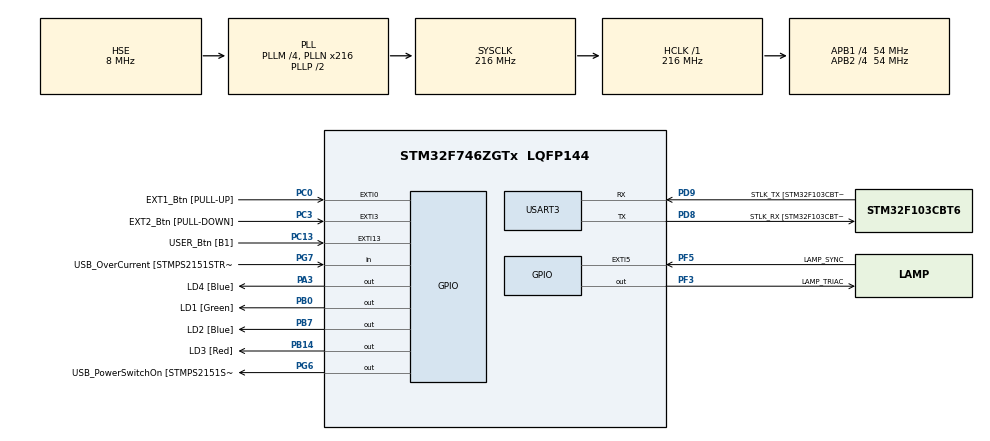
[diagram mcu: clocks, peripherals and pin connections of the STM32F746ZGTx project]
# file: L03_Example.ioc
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Mcu.Family=STM32F7
Mcu.Name=STM32F746ZGTx
Mcu.Package=LQFP144
NVIC.EXTI15_10_IRQn=true\:0\:0\:false\:false\:true\:true\:true\:true
NVIC.EXTI9_5_IRQn=true\:0\:0\:false\:false\:true\:true\:true\:true
NVIC.PriorityGroup=NVIC_PRIORITYGROUP_4
NVIC.TIM2_IRQn=true\:0\:0\:false\:false\:true\:true\:true\:true
NVIC.USART3_IRQn=true\:0\:0\:false\:false\:true\:true\:true\:true
PA1.GPIO_Label=RMII_REF_CLK [LAN8742A-CZ-TR_REFCLK0]
PA1.Signal=ETH_REF_CLK
PA10.GPIO_Label=USB_ID
PA10.Signal=USB_OTG_FS_ID
PA11.GPIO_Label=USB_DM
PA11.Signal=USB_OTG_FS_DM
PA12.GPIO_Label=USB_DP
PA12.Signal=USB_OTG_FS_DP
PA13.GPIO_Label=TMS
PA13.Mode=Serial_Wire
PA13.Signal=SYS_JTMS-SWDIO
PA14.GPIO_Label=TCK
PA14.Mode=Serial_Wire
PA14.Signal=SYS_JTCK-SWCLK
PA2.GPIO_Label=RMII_MDIO [LAN8742A-CZ-TR_MDIO]
PA2.Signal=ETH_MDIO
PA3.GPIO_Label=LD4 [Blue]
PA3.GPIO_PuPd=GPIO_PULLDOWN
PA3.Signal=GPIO_Output
PA7.GPIO_Label=RMII_CRS_DV [LAN8742A-CZ-TR_CRS_DV]
PA7.Signal=ETH_CRS_DV
PA8.GPIO_Label=USB_SOF [TP1]
PA8.Signal=USB_OTG_FS_SOF
PA9.GPIO_Label=USB_VBUS
PA9.Signal=USB_OTG_FS_VBUS
PB0.GPIO_Label=LD1 [Green]
PB0.Signal=GPIO_Output
PB13.GPIO_Label=RMII_TXD1 [LAN8742A-CZ-TR_TXD1]
PB13.Signal=ETH_TXD1
PB14.GPIO_Label=LD3 [Red]
PB14.Signal=GPIO_Output
PB3.GPIO_Label=SW0
PB3.Signal=SYS_JTDO-SWO
PB7.GPIO_Label=LD2 [Blue]
PB7.Signal=GPIO_Output
PC0.GPIO_Label=EXT1_Btn [PULL-UP]
PC0.GPIO_ModeDefaultEXTI=GPIO_MODE_IT_FALLING
PC0.GPIO_PuPd=GPIO_PULLUP
PC0.Signal=GPXTI0
PC1.GPIO_Label=RMII_MDC [LAN8742A-CZ-TR_MDC]
PC1.Signal=ETH_MDC
PC13.GPIO_Label=USER_Btn [B1]
PC13.Signal=GPXTI13
PC14/OSC32_IN.Mode=LSE-External-Oscillator
PC14/OSC32_IN.Signal=RCC_OSC32_IN
PC15/OSC32_OUT.Mode=LSE-External-Oscillator
PC15/OSC32_OUT.Signal=RCC_OSC32_OUT
PC3.GPIO_Label=EXT2_Btn [PULL-DOWN]
PC3.GPIO_PuPd=GPIO_PULLDOWN
PC3.Signal=GPXTI3
PC4.GPIO_Label=RMII_RXD0 [LAN8742A-CZ-TR_RXD0]
PC4.Signal=ETH_RXD0
PC5.GPIO_Label=RMII_RXD1 [LAN8742A-CZ-TR_RXD1]
PC5.Signal=ETH_RXD1
PD8.GPIO_Label=STLK_RX [STM32F103CBT6_PA3]
PD8.Mode=Asynchronous
PD8.Signal=USART3_TX
PD9.GPIO_Label=STLK_TX [STM32F103CBT6_PA2]
PD9.Mode=Asynchronous
PD9.Signal=USART3_RX
PF3.GPIO_Label=LAMP_TRIAC
PF3.GPIO_Speed=GPIO_SPEED_FREQ_HIGH
PF3.Signal=GPIO_Output
PF5.GPIO_Label=LAMP_SYNC
PF5.Signal=GPXTI5
PG11.GPIO_Label=RMII_TX_EN [LAN8742A-CZ-TR_TXEN]
PG11.Signal=ETH_TX_EN
PG13.GPIO_Label=RMII_TXD0 [LAN8742A-CZ-TR_TXD0]
PG13.Signal=ETH_TXD0
PG6.GPIO_Label=USB_PowerSwitchOn [STMPS2151STR_EN]
PG6.Signal=GPIO_Output
PG7.GPIO_Label=USB_OverCurrent [STMPS2151STR_FAULT]
PG7.Signal=GPIO_Input
PH0/OSC_IN.GPIO_Label=MCO [STM32F103CBT6_PA8]
PH0/OSC_IN.Mode=HSE-External-Clock-Source
PH0/OSC_IN.Signal=RCC_OSC_IN
PH1/OSC_OUT.Mode=HSE-External-Clock-Source
PH1/OSC_OUT.Signal=RCC_OSC_OUT
ProjectManager.HeapSize=0x200
ProjectManager.StackSize=0x400
ProjectManager.TargetToolchain=STM32CubeIDE
RCC.48MHZClocksFreq_Value=24000000
RCC.AHBFreq_Value=216000000
RCC.APB1CLKDivider=RCC_HCLK_DIV4
RCC.APB1Freq_Value=54000000
RCC.APB1TimFreq_Value=108000000
RCC.APB2CLKDivider=RCC_HCLK_DIV4
RCC.APB2Freq_Value=54000000
RCC.APB2TimFreq_Value=108000000
RCC.CortexFreq_Value=216000000
RCC.HCLKFreq_Value=216000000
RCC.HSE_VALUE=8000000
RCC.HSI_VALUE=16000000
RCC.PLLM=4
RCC.PLLMUL=RCC_PLL_MUL9
RCC.PLLN=216
RCC.PLLQ=3
RCC.PLLSourceVirtual=RCC_PLLSOURCE_HSE
RCC.PRESCALERUSB=RCC_USBCLKSOURCE_PLL_DIV1_5
RCC.SYSCLKFreq_VALUE=216000000
RCC.SYSCLKSource=RCC_SYSCLKSOURCE_PLLCLK
RCC.SYSCLKSourceVirtual=RCC_SYSCLKSOURCE_PLLCLK
RCC.USART3CLockSelection=RCC_USART3CLKSOURCE_SYSCLK
RCC.USBFreq_Value=144000000
RCC.VCOOutputFreq_Value=432000000
TIM2.Period=9999
TIM2.Prescaler=107
USART3.VirtualMode-Asynchronous=VM_ASYNC
VP_TIM2_VS_ClockSourceINT.Mode=Internal
board=NUCLEO-F746ZG

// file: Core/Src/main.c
/* USER CODE BEGIN Header */
/**
  ******************************************************************************
  * @file           : main.c
  * @brief          : Main program body
  ******************************************************************************
  * @attention
  *
  * Copyright (c) 2022 STMicroelectronics.
  * All rights reserved.
  *
  * This software is licensed under terms that can be found in the LICENSE file
  * in the root directory of this software component.
  * If no LICENSE file comes with this software, it is provided AS-IS.
  *
  ******************************************************************************
  */
/* USER CODE END Header */
#include "main.h"
#include "tim.h"
#include "usart.h"
#include "gpio.h"

/* USER CODE BEGIN Includes */
#include <stdio.h>
#include "led_config.h"
/* USER CODE END Includes */

/* USER CODE BEGIN PV */
_Bool LD1_State;
char msg[] = "000\r";
const unsigned int TIM2_MSG_LEN = sizeof(msg)-1;
/* USER CODE END PV */

void SystemClock_Config(void);

/* USER CODE BEGIN 0 */
/**
  * @brief  Period elapsed callback in non-blocking mode
  * @param  htim TIM handle
  * @retval None
  */
void HAL_TIM_PeriodElapsedCallback(TIM_HandleTypeDef *htim)
{
  if(htim == &htim2)
  {
    LED_GPIO_Off(&hld1);
    LD1_State = LED_GPIO_Read(&hld1);
    HAL_TIM_Base_Stop_IT(&htim2);
  }
}

/**
  * @brief  Rx Transfer completed callback.
  * @param  huart UART handle.
  * @retval None
  */
void HAL_UART_RxCpltCallback(UART_HandleTypeDef *huart)
{
  if(huart == &huart3)
  {
    unsigned int time_ms, tim3_arr;
    int status = sscanf(msg, "%d", &time_ms);
    tim3_arr = time_ms*1000 - 1;
    if(status == 1)
    {
      HAL_TIM_Base_Stop_IT(&htim2);
      __HAL_TIM_SET_COUNTER(&htim2, 0);
      __HAL_TIM_SET_AUTORELOAD(&htim2, tim3_arr);
    }
    HAL_UART_Receive_IT(huart, (uint8_t*)msg, TIM2_MSG_LEN);
  }
}

/**
  * @brief  EXTI line detection callbacks.
  * @param  GPIO_Pin Specifies the pins connected EXTI line
  * @retval None
  */
void HAL_GPIO_EXTI_Callback(uint16_t GPIO_Pin)
{
  if(GPIO_Pin == USER_Btn_Pin)
  {
    LED_GPIO_On(&hld1);
    LD1_State = LED_GPIO_Read(&hld1);
    HAL_TIM_Base_Start_IT(&htim2);
  }
}
/* USER CODE END 0 */

int main(void)
{

  /* MCU Configuration--------------------------------------------------------*/

  /* Reset of all peripherals, Initializes the Flash interface and the Systick. */
  HAL_Init();

  /* Configure the system clock */
  SystemClock_Config();

  /* Initialize all configured peripherals */
  MX_GPIO_Init();
  MX_USART3_UART_Init();
  MX_TIM2_Init();
  /* USER CODE BEGIN 2 */
  __HAL_TIM_CLEAR_FLAG(&htim2, TIM_SR_UIF);
  HAL_UART_Receive_IT(&huart3, (uint8_t*)msg, TIM2_MSG_LEN);
  /* USER CODE END 2 */

  /* Infinite loop */
  while (1)
  {

  }
}

void SystemClock_Config(void)
{
  RCC_OscInitTypeDef RCC_OscInitStruct = {0};
  RCC_ClkInitTypeDef RCC_ClkInitStruct = {0};

  /** Configure LSE Drive Capability
  */
  HAL_PWR_EnableBkUpAccess();

  /** Configure the main internal regulator output voltage
  */
  __HAL_RCC_PWR_CLK_ENABLE();
  __HAL_PWR_VOLTAGESCALING_CONFIG(PWR_REGULATOR_VOLTAGE_SCALE1);

  /** Initializes the RCC Oscillators according to the specified parameters
  * in the RCC_OscInitTypeDef structure.
  */
  RCC_OscInitStruct.OscillatorType = RCC_OSCILLATORTYPE_HSE;
  RCC_OscInitStruct.HSEState = RCC_HSE_BYPASS;
  RCC_OscInitStruct.PLL.PLLState = RCC_PLL_ON;
  RCC_OscInitStruct.PLL.PLLSource = RCC_PLLSOURCE_HSE;
  RCC_OscInitStruct.PLL.PLLM = 4;
  RCC_OscInitStruct.PLL.PLLN = 216;
  RCC_OscInitStruct.PLL.PLLP = RCC_PLLP_DIV2;
  RCC_OscInitStruct.PLL.PLLQ = 3;
  if (HAL_RCC_OscConfig(&RCC_OscInitStruct) != HAL_OK)
  {
    Error_Handler();
  }

  /** Activate the Over-Drive mode
  */
  if (HAL_PWREx_EnableOverDrive() != HAL_OK)
  {
    Error_Handler();
  }

  /** Initializes the CPU, AHB and APB buses clocks
  */
  RCC_ClkInitStruct.ClockType = RCC_CLOCKTYPE_HCLK|RCC_CLOCKTYPE_SYSCLK
                              |RCC_CLOCKTYPE_PCLK1|RCC_CLOCKTYPE_PCLK2;
  RCC_ClkInitStruct.SYSCLKSource = RCC_SYSCLKSOURCE_PLLCLK;
  RCC_ClkInitStruct.AHBCLKDivider = RCC_SYSCLK_DIV1;
  RCC_ClkInitStruct.APB1CLKDivider = RCC_HCLK_DIV4;
  RCC_ClkInitStruct.APB2CLKDivider = RCC_HCLK_DIV4;

  if (HAL_RCC_ClockConfig(&RCC_ClkInitStruct, FLASH_LATENCY_7) != HAL_OK)
  {
    Error_Handler();
  }
}

void Error_Handler(void)
{
  __disable_irq();
  while (1)
  {
  }
}
